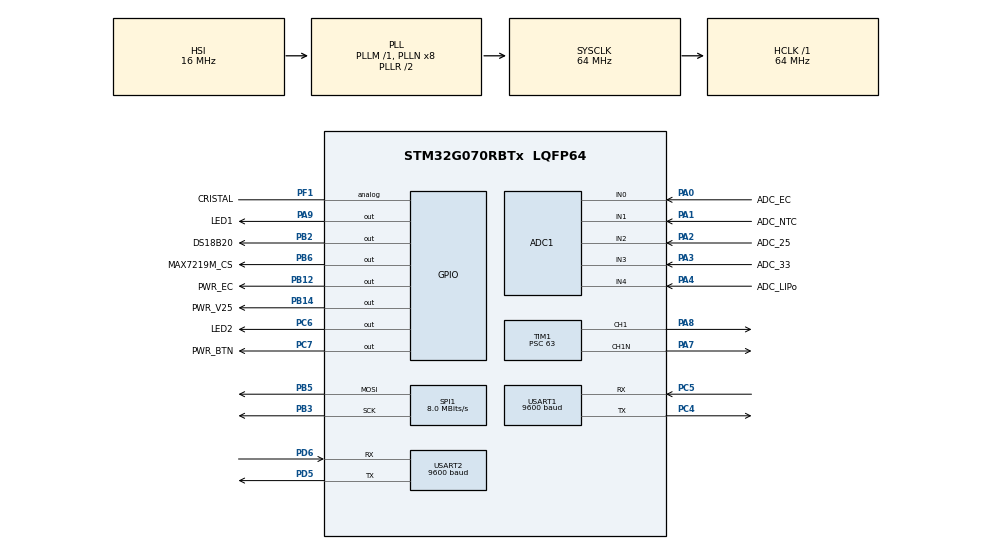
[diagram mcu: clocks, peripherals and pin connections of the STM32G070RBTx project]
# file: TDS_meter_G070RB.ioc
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ADC1.Channel-21\#ChannelRegularConversion=ADC_CHANNEL_1
ADC1.Channel-22\#ChannelRegularConversion=ADC_CHANNEL_2
ADC1.Channel-23\#ChannelRegularConversion=ADC_CHANNEL_3
ADC1.Channel-24\#ChannelRegularConversion=ADC_CHANNEL_4
ADC1.Channel-8\#ChannelRegularConversion=ADC_CHANNEL_0
ADC1.ClockPrescaler=ADC_CLOCK_SYNC_PCLK_DIV4
ADC1.ContinuousConvMode=DISABLE
ADC1.DMAContinuousRequests=ENABLE
ADC1.EOCSelection=ADC_EOC_SEQ_CONV
ADC1.ExternalTrigConv=ADC_EXTERNALTRIG_T1_TRGO2
ADC1.ExternalTrigConvEdge=ADC_EXTERNALTRIGCONVEDGE_RISING
ADC1.NbrOfConversion=5
ADC1.NbrOfConversionFlag=1
ADC1.Overrun=ADC_OVR_DATA_OVERWRITTEN
ADC1.Rank-21\#ChannelRegularConversion=2
ADC1.Rank-22\#ChannelRegularConversion=3
ADC1.Rank-23\#ChannelRegularConversion=4
ADC1.Rank-24\#ChannelRegularConversion=5
ADC1.Rank-8\#ChannelRegularConversion=1
ADC1.SamplingTime-21\#ChannelRegularConversion=ADC_SAMPLINGTIME_COMMON_1
ADC1.SamplingTime-22\#ChannelRegularConversion=ADC_SAMPLINGTIME_COMMON_1
ADC1.SamplingTime-23\#ChannelRegularConversion=ADC_SAMPLINGTIME_COMMON_1
ADC1.SamplingTime-24\#ChannelRegularConversion=ADC_SAMPLINGTIME_COMMON_1
ADC1.SamplingTime-8\#ChannelRegularConversion=ADC_SAMPLINGTIME_COMMON_1
ADC1.SamplingTimeCommon1=ADC_SAMPLETIME_12CYCLES_5
ADC1.SamplingTimeCommon2=ADC_SAMPLETIME_39CYCLES_5
ADC1.ScanConvMode=ADC_SCAN_ENABLE
ADC1.SelectedChannel=ADC_CHANNEL_0|ADC_CHANNEL_1|ADC_CHANNEL_2|ADC_CHANNEL_3|ADC_CHANNEL_4
ADC1.Sequencer=FULLY_CONFIGURABLE
ADC1.TriggerFrequencyMode=ADC_TRIGGER_FREQ_LOW
ADC1.master=1
Dma.ADC1.0.Direction=DMA_PERIPH_TO_MEMORY
Dma.ADC1.0.EventEnable=DISABLE
Dma.ADC1.0.Instance=DMA1_Channel1
Dma.ADC1.0.MemDataAlignment=DMA_MDATAALIGN_HALFWORD
Dma.ADC1.0.MemInc=DMA_MINC_ENABLE
Dma.ADC1.0.Mode=DMA_CIRCULAR
Dma.ADC1.0.PeriphDataAlignment=DMA_PDATAALIGN_HALFWORD
Dma.ADC1.0.PeriphInc=DMA_PINC_DISABLE
Dma.ADC1.0.Polarity=HAL_DMAMUX_REQ_GEN_RISING
Dma.ADC1.0.Priority=DMA_PRIORITY_LOW
Dma.ADC1.0.RequestNumber=1
Dma.ADC1.0.SignalID=NONE
Dma.ADC1.0.SyncEnable=DISABLE
Dma.ADC1.0.SyncPolarity=HAL_DMAMUX_SYNC_NO_EVENT
Dma.ADC1.0.SyncRequestNumber=1
Dma.ADC1.0.SyncSignalID=NONE
Dma.Request0=ADC1
Mcu.Family=STM32G0
Mcu.Name=STM32G070RBTx
Mcu.Package=LQFP64
NVIC.ADC1_IRQn=true\:0\:0\:false\:false\:true\:true\:true\:true
NVIC.DMA1_Channel1_IRQn=true\:0\:0\:false\:false\:true\:false\:true\:true
NVIC.TIM17_IRQn=true\:0\:0\:false\:false\:true\:true\:true\:true
NVIC.TIM6_IRQn=true\:0\:0\:false\:false\:true\:true\:true\:true
NVIC.USART1_IRQn=true\:0\:0\:false\:false\:true\:true\:true\:true
PA0.GPIO_Label=ADC_EC
PA0.Mode=IN0
PA0.Signal=ADC1_IN0
PA1.GPIO_Label=ADC_NTC
PA1.Mode=IN1
PA1.Signal=ADC1_IN1
PA13.Mode=Serial_Wire
PA13.Signal=SYS_SWDIO
PA14-BOOT0.Mode=Serial_Wire
PA14-BOOT0.Signal=SYS_SWCLK
PA2.GPIO_Label=ADC_25
PA2.Mode=IN2
PA2.Signal=ADC1_IN2
PA3.GPIO_Label=ADC_33
PA3.Mode=IN3
PA3.Signal=ADC1_IN3
PA4.GPIO_Label=ADC_LIPo
PA4.Mode=IN4
PA4.Signal=ADC1_IN4
PA7.Mode=Output Compare1 CH1 CH1N
PA7.Signal=TIM1_CH1N
PA8.Signal=S_TIM1_CH1
PA9.GPIO_Label=LED1
PA9.PinState=GPIO_PIN_SET
PA9.Signal=GPIO_Output
PB12.GPIO_Label=PWR_EC
PB12.Signal=GPIO_Output
PB14.GPIO_Label=PWR_V25
PB14.Signal=GPIO_Output
PB2.GPIO_Label=DS18B20
PB2.GPIO_ModeDefaultOutputPP=GPIO_MODE_OUTPUT_OD
PB2.GPIO_Speed=GPIO_SPEED_FREQ_VERY_HIGH
PB2.Signal=GPIO_Output
PB3.Mode=TX_Only_Simplex_Unidirect_Master
PB3.Signal=SPI1_SCK
PB5.Mode=TX_Only_Simplex_Unidirect_Master
PB5.Signal=SPI1_MOSI
PB6.GPIO_Label=MAX7219M_CS
PB6.Signal=GPIO_Output
PC14-OSC32_IN\ (PC14).Signal=RCC_OSC32_IN
PC15-OSC32_OUT\ (PC15).Signal=RCC_OSC32_OUT
PC4.Mode=Asynchronous
PC4.Signal=USART1_TX
PC5.GPIO_PuPd=GPIO_PULLUP
PC5.Mode=Asynchronous
PC5.Signal=USART1_RX
PC6.GPIO_Label=LED2
PC6.PinState=GPIO_PIN_SET
PC6.Signal=GPIO_Output
PC7.GPIO_Label=PWR_BTN
PC7.Signal=GPIO_Output
PD5.Mode=Asynchronous
PD5.Signal=USART2_TX
PD6.GPIO_PuPd=GPIO_PULLUP
PD6.Mode=Asynchronous
PD6.Signal=USART2_RX
PF0-OSC_IN\ (PF0).GPIO_Label=CRISTAL
PF0-OSC_IN\ (PF0).Signal=RCC_OSC_IN
PF1-OSC_OUT\ (PF1).GPIO_Label=CRISTAL
PF1-OSC_OUT\ (PF1).Signal=GPIO_Analog
ProjectManager.HeapSize=0x200
ProjectManager.StackSize=0x400
ProjectManager.TargetToolchain=STM32CubeIDE
RCC.ADCFreq_Value=64000000
RCC.AHBFreq_Value=64000000
RCC.CortexFreq_Value=64000000
RCC.EXTERNAL_CLOCK_VALUE=12288000
RCC.HCLKFreq_Value=64000000
RCC.HSE_VALUE=8000000
RCC.HSI_VALUE=16000000
RCC.LSE_VALUE=32768
RCC.SYSCLKFreq_VALUE=64000000
RCC.SYSCLKSource=RCC_SYSCLKSOURCE_PLLCLK
RCC.VCOOutputFreq_Value=128000000
SH.S_TIM1_CH1.0=TIM1_CH1,Output Compare1 CH1 CH1N
SPI1.BaudRatePrescaler=SPI_BAUDRATEPRESCALER_8
SPI1.CalculateBaudRate=8.0 MBits/s
SPI1.DataSize=SPI_DATASIZE_8BIT
SPI1.Direction=SPI_DIRECTION_2LINES
SPI1.Mode=SPI_MODE_MASTER
SPI1.VirtualType=VM_MASTER
TIM1.Channel-Output\ Compare1\ CH1\ CH1N=TIM_CHANNEL_1
TIM1.Channel-Output\ Compare4\ No\ Output=TIM_CHANNEL_4
TIM1.OCMode_1=TIM_OCMODE_TOGGLE
TIM1.OCMode_4=TIM_OCMODE_TOGGLE
TIM1.Period=100
TIM1.Prescaler=63
TIM1.Pulse-Output\ Compare1\ CH1\ CH1N=100
TIM1.Pulse-Output\ Compare4\ No\ Output=1
TIM1.TIM_MasterOutputTrigger=TIM_TRGO_RESET
TIM1.TIM_MasterOutputTrigger2=TIM_TRGO2_UPDATE
TIM1.TIM_MasterSlaveMode=TIM_MASTERSLAVEMODE_DISABLE
TIM17.Prescaler=63
TIM6.Period=7600
TIM6.Prescaler=6399
TIM7.Prescaler=63
USART1.BaudRate=9600
USART1.VirtualMode-Asynchronous=VM_ASYNC
USART2.BaudRate=9600
USART2.VirtualMode-Asynchronous=VM_ASYNC
VP_SYS_VS_DBSignals.Mode=DisableDeadBatterySignals
VP_TIM17_VS_ClockSourceINT.Mode=Enable_Timer
VP_TIM1_VS_no_output4.Mode=Output Compare4 No Output
VP_TIM6_VS_ClockSourceINT.Mode=Enable_Timer
VP_TIM6_VS_OPM.Mode=OPM_bit
VP_TIM7_VS_ClockSourceINT.Mode=Enable_Timer
board=NUCLEO-G070RB

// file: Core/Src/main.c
/* USER CODE BEGIN Header */
/**
 ******************************************************************************
 * @file           : main.c
 * @brief          : Main program body
 ******************************************************************************
 * @attention
 *
 * <h2><center>&copy; Copyright (c) 2022 STMicroelectronics.
 * All rights reserved.</center></h2>
 *
 * This software component is licensed by ST under BSD 3-Clause license,
 * the "License"; You may not use this file except in compliance with the
 * License. You may obtain a copy of the License at:
 *                        opensource.org/licenses/BSD-3-Clause
 *
 ******************************************************************************
 */
/* USER CODE END Header */
#include "main.h"
#include "adc.h"
#include "dma.h"
#include "spi.h"
#include "tim.h"
#include "usart.h"
#include "gpio.h"

/* USER CODE BEGIN Includes */
#include "string.h"
#include "stdio.h"
#include "delay_micros_tim.h"
#include "flash_wrt.h"
#include "ds18b20.h"
#include "max7219.h"
#include "math.h"
#include "app.h"
#include "app_config.h"

/* USER CODE END Includes */

/* USER CODE BEGIN PD */
// размер буфера ацп для adc_33_volt, adc_2_volt, adc_ntc, adc_vrefint
// (должно быть чётное число).
#define COUNT_REQUEST     5
// количество каналов. Если тут не чётное число,
// то COUNT_REQUEST должен делится на него без остатка).
#define CH_ADC            5
#define DIV_ADC           10
// количество опросов EC (должно быть чётное число).
#define EC_COUNT_ADC      16
//#define BUF_UART          256 (перенес)
/* USER CODE END PD */

/* USER CODE BEGIN PM */
// sb16 sb18 uart2 - del, sb17 mco - set, sb22 led - del
/* USER CODE END PM */

/* USER CODE BEGIN PV */

////////////// DS18B20 ///////////////
volatile uint8_t flag_ds18b20 = 1;

/////// Переменные АЦП1.
volatile uint8_t adc_flag_full = 0;
volatile uint8_t adc_flag_half = 0;
volatile uint8_t adc_count_full = 0;

//uint16_t adc_buf[COUNT_REQUEST] = {0,};
//uint32_t tmp_adc[CH_ADC] = {0,};
//uint16_t adc[CH_ADC] = {0,};

//////////////////////////////////////////////////
//uint32_t interval_uart = 500;

uint32_t interval_ds18 = 800; // миллисекунды, min 800                         [A800]
uint32_t interval_ec = 500; // миллисекунды, min 500                           [B

uint32_t referenceVoltage = 2500; // 2500mv (напряжение питания датчиков)      [C

uint32_t ntcR1 = 9600; // 10kΩ voltage divider resistor value                  [D
uint32_t ntcRo = 10000; // 10kΩ R of Thermistor at 25 degree                   [E
uint32_t ntcTo = 25; // 25 Temperature in Kelvin for 25 degree                 [F
uint32_t ntcKoefB = 3950; // 3950 Beta value                                   [G

int32_t ecRo = 1000; //  Ω Voltage divider resistor value 500Ω / 1000Ω         [K
int32_t ecKoefA = 54790; //  Alfa value                                        [L
int32_t ecKoefB = 90; //  Beta value                                           [M
int32_t ecKoefC = 34; //  С-value                                              [N
int32_t ecKoefT = 1; //  Ноль Koef Temperature                                 [P

uint32_t ec_Hz = 99; //  Частота ШиМа (в микросек, min 9, max 65535))          [Q
uint32_t skip_settings = 1;

typedef struct {
	double ec1;
	double ec2;
	double ec3;
	double adc_ec_raw1;
	double adc_ec_raw2;
	double adc_ec_raw3;
} calc_struct;

calc_struct my_struct = { 0, };

volatile uint32_t tim = 0;
volatile uint32_t tim17_count = 0;

volatile uint8_t flag_tim = 0;

uint16_t adc_buf[COUNT_REQUEST] = { 0, };

/* USER CODE END PV */

void SystemClock_Config(void);

/* USER CODE BEGIN 0 */
void trans_to_usart(char *buf, uint8_t len) {
	for (uint8_t i = 0; i < len; i++) {
		while ((USART1->ISR & USART_ISR_TC) == 0) {
		}
		USART1->TDR = buf[i];
	}

	//while((USART2->ISR & USART_ISR_TC) == 0){}
	//USART2->TDR = '\r';

	while ((USART1->ISR & USART_ISR_TC) == 0) {
	}
	USART1->TDR = '\n';
}

/////////// Таймер измерения времени для скорости & rpm ///////////
void HAL_TIM_PeriodElapsedCallback(TIM_HandleTypeDef *htim) {
	// ds18b20 tim17_count.
	if (htim == &htim6) {
		flag_ds18b20 = 2;
	}
	// ds18b20.
	if (htim->Instance == TIM17) {
		tim17_count++;
		//trans_to_usart("R", 1);
	}
}

void HAL_ADC_ConvCpltCallback(ADC_HandleTypeDef *hadc) {
	//if(hadc->Instance == ADC1)
	//{
	adc_flag_full = 1;

	/*flag_tim++;

	 if(flag_tim == 1)
	 {
	 TIM17->CNT = 0;
	 }
	 else if(flag_tim == 2)
	 {
	 tim = TIM17->CNT;
	 flag_tim = 0;
	 }*/

	//uint16_t len = sprintf(trans_str, "F %d %d %d %d %d  %lu", adc_buf[0], adc_buf[1], adc_buf[2], adc_buf[3], adc_buf[4], tim);
	//trans_to_usart(trans_str, len);
	//HAL_ADC_Stop(&hadc1);
	//trans_to_usart("F", 1);
	//}
}

void HAL_ADC_ConvHalfCpltCallback(ADC_HandleTypeDef *hadc) {
	//if(hadc->Instance == ADC1)
	//{
	adc_flag_half = 1;

	//uint16_t len = sprintf(trans_str, "H %d %d %d %d %d  %lu", adc_buf[0], adc_buf[1], adc_buf[2], adc_buf[3], adc_buf[4], tim);
	//trans_to_usart(trans_str, len);

	//HAL_ADC_Stop(&hadc1);
	//trans_to_usart("H", 1);
	//}
}

/* USER CODE END 0 */

int main(void)
{

  /* MCU Configuration--------------------------------------------------------*/

  /* Reset of all peripherals, Initializes the Flash interface and the Systick. */
  HAL_Init();

  /* Configure the system clock */
  SystemClock_Config();

  /* Initialize all configured peripherals */
  MX_GPIO_Init();
  MX_DMA_Init();
  MX_ADC1_Init();
  MX_USART1_UART_Init();
  MX_TIM7_Init();
  MX_TIM1_Init();
  MX_TIM6_Init();
  MX_TIM17_Init();
  MX_USART2_UART_Init();
  MX_SPI1_Init();
  /* USER CODE BEGIN 2 */
	/*PWR-V25 - включает питание опорного напряжения 2.5V. Включается низким напряжением в начале работы

	 PWR-EC - включает питание драйвера шагового двигателя который щёлкает ногами EC (перед этим нужно включить питание PWR-V25).
	 Оно включается высоким уровнем в начале работы.

	 PWR-LED - включает питание на 7-сегментные индикаторы c линии батарейки.
	 Одна из возможных проблем. Без этой штуки питание 7-сегментного идёт через диод с линии 5 вольт

	 PWR-ESP - включает питание на esp32 от батарейки, вторая возможная проблема. ecp32 также будет запитана с линии 5V*/

	HAL_Delay(500);

	///////////////////// READ FLASH ////////////////////////
	readConfig();
	/////////////////////// DWT ///////////////////////////// 0x0801F800
	Delay_us_tim_init();

	///////////////////// DS18B20 ///////////////////////////
	setResolution(DS18B20_Resolution_12_bit);

	///////////////////// PWR_V25_ON ///////////////////////////
	PWR_V25_ON;

	////////////////////// PWR_EC_ON ///////////////////////////
	PWR_EC_ON;

	///////////////////// ADC1 /////////////////////////////
	HAL_ADCEx_Calibration_Start(&hadc1); // калибровка АЦП1
	HAL_ADC_Start_DMA(&hadc1, (uint32_t*) adc_buf, COUNT_REQUEST);

	/////// переменные АЦП1 ///////
	uint16_t filter[CH_ADC] = { 0, };
	//uint16_t adc[CH_ADC] = {0,};

	uint16_t adc_ec = 0;
	uint16_t adc_ntc = 0;
	uint16_t adc_25 = 0;
	uint16_t adc_33 = 0;
	uint16_t adc_lipo = 0;

	uint16_t adc_ec_tmp = 0;
	uint16_t adc_ntc_tmp = 0;
	uint16_t adc_25_tmp = 0;
	uint16_t adc_33_tmp = 0;
	uint16_t adc_lipo_tmp = 0;

	uint32_t adc_ch_1 = 0;
	uint32_t adc_ch_2 = 0;
	uint32_t adc_ch_3 = 0;
	uint32_t adc_ch_4 = 0;
	uint32_t adc_ch_5 = 0;

	uint16_t *ptr_adc_buf = NULL;

	uint32_t tmp_adc_ec_positive = 0; // собирает пачку позитивных значений ЕС (по умолчанию 10 - #define EC_COUNT_ADC)
	uint16_t adc_ec_positive = 0; // среднее позитив = (tmp_adc_ec_positive / EC_COUNT_ADC)

	uint32_t tmp_adc_ec_negative = 0; // собирает пачку негативных значений ЕС (по умолчанию 10 - #define EC_COUNT_ADC)
	uint16_t adc_ec_negative = 0; // среднее негатив = (tmp_adc_ec_negative / EC_COUNT_ADC)

	///////////////// Готовые температуры ////////////////////
	int32_t temp_ntc = 0;
	int16_t temp_ds18 = 0;

	//MY_ADC1_Init(1);
	TIM1->PSC = 63;
	TIM1->ARR = ec_Hz;
	TIM1->CCR1 = TIM1->ARR;
	TIM1->CCR4 = TIM1->ARR;
	TIM1->EGR = TIM_EGR_UG;
	TIM1->SR = ~TIM_SR_UIF;

	HAL_TIM_OC_Start(&htim1, TIM_CHANNEL_1);
	HAL_TIMEx_OCN_Start(&htim1, TIM_CHANNEL_1);

	//HAL_ADC_Start(&hadc1);
	//HAL_ADC_PollForConversion(&hadc1, 2000);
	//trans_to_usart("2", 1);
	//trans_to_usart("3", 1);
	//while(!(ADC1->ISR & ADC_ISR_EOC));
	//trans_to_usart("4", 1);
	//uint16_t len = sprintf(trans_str, "A1 %lu", ADC1->DR);
	//trans_to_usart(trans_str, len);
	//trans_to_usart("5", 1);
	//while(1){}

	///////////////////////// tick ///////////////////////////
	uint32_t tim_ds18 = 0;
	uint32_t tim_ec = 0;

	//////////////// Вкл прерывания UART /////////////////////
	//__HAL_UART_ENABLE_IT(&huart1, UART_IT_RXNE);

	//////////////////////////////////////////////////////////
	my_struct.ec1 = 22.56;

	HAL_TIM_Base_Start_IT(&htim17);

	max7219_setup();

	// 2507 = 3300/4095*3111
  /* USER CODE END 2 */

  /* Infinite loop */
  /* USER CODE BEGIN WHILE */
	while (1) {
		adc_ntc = adc_buf[1];
		temp_ntc = rawNtcToTemperature(adc_ntc);
		uint16_t len = sprintf(trans_str, "%d  %d  %d  %d  %d  %d %l", adc_buf[0],
				adc_buf[1], adc_buf[2], adc_buf[3], adc_buf[4], temp_ds18, temp_ntc);
		trans_to_usart(trans_str, len);

		//////////////////////////// ADC FULL ///////////////////////////////
		if (adc_flag_full == 1) {
			adc_flag_full = 0;

			adc_count_full++;

			adc_ch_1 += adc_buf[0];
			adc_ch_2 += adc_buf[1];
			adc_ch_3 += adc_buf[2];
			adc_ch_4 += adc_buf[3];
			adc_ch_5 += adc_buf[4];

			if (adc_count_full == 10) {

				TIM17->CNT = 0;
				//tim17_count = 0;

				adc_ec_tmp = adc_ch_1 / DIV_ADC;
				adc_ntc_tmp = adc_ch_2 / DIV_ADC;
				adc_25 = adc_ch_3 / DIV_ADC;
				adc_33 = adc_ch_4 / DIV_ADC;
				adc_lipo = adc_ch_5 / DIV_ADC;

				/*for(uint8_t i = 0; i < CH_ADC; i++)
				 {
				 filter[i] = filter[i] - ((filter[i]) >> 4) + adc_buf[i];
				 adc[i] = (filter[i]) >> 4;
				 }*/

				//filter[0] = filter[0] - ((filter[0]) >> 4) + adc_ntc_tmp;
				//adc_ntc = (filter[0]) >> 4;
				adc_ch_1 = 0;
				adc_ch_2 = 0;
				adc_ch_3 = 0;
				adc_ch_4 = 0;
				adc_ch_5 = 0;

				//tim = (TIM17->CNT + (tim17_count * 65535));
				tim = TIM17->CNT;

				adc_count_full = 0;

				//uint16_t len = sprintf(trans_str, "%d  %d  %d  %d  %d    %lu  t: %d", adc_buf[1], adc_ntc, adc_ntc_tmp, adc[3], adc[4], tim, temp_ds18);
				//trans_to_usart(trans_str, len);
			}

		}
		max7219_loop();

		LED2_ON;
		LED1_OFF;
		HAL_Delay(50);
		LED2_OFF;
		LED1_ON;
		HAL_Delay(50);

		//max7219_init(8);

		//////////////////////////// ADC HALF ///////////////////////////////
		/*if(adc_flag_half == 1)
		 {
		 adc_flag_half = 0;

		 adc_ch_1 = 0;
		 adc_ch_2 = 0;

		 ptr_adc_buf = &adc_buf[0];

		 for(uint16_t i = 0; i < COUNT_REQUEST / (2 * 2); i++)
		 {
		 adc_ch_1 += ptr_adc_buf[2 * i + 0];
		 adc_ch_2 += ptr_adc_buf[2 * i + 1];
		 }

		 pred_ch1_h += adc_ch_1 / (COUNT_REQUEST / (2 * 2));
		 pred_ch2_h += adc_ch_2 / (COUNT_REQUEST / (2 * 2));

		 }*/

		//////////////////////////////// DS18B20 ////////////////////////////////////
		if ((uwTick - tim_ds18) > interval_ds18) {
			if (flag_ds18b20 == 1) {
				flag_ds18b20 = 0;

				DS18B20_LOW;
				delay_us(DELAY_RESET);
				DS18B20_HIGH;
				delay_us(DELAY_RESET);

				writeByte(SKIP_ROM);
				writeByte(CONVERT_T);

				TIM6->DIER |= TIM_IT_UPDATE;
				TIM6->CR1 |= TIM_CR1_CEN;

				//adc_flag_full = 0;
				//adc_flag_half = 0;

				LED1_ON;
				LED2_OFF;

			} else if (flag_ds18b20 == 2) {
				// когда таймер отсчитает 750мс, он установит flag == 2.
				DS18B20_LOW;
				delay_us(DELAY_RESET);
				DS18B20_HIGH;
				delay_us(DELAY_RESET);

				writeByte(SKIP_ROM);
				writeByte(READ_SCRATCHPAD);

				temp_ds18 = 0;

				for (uint8_t i = 0; i < 16; i++)
					temp_ds18 += (int16_t) readBit() << i;

				temp_ds18 = (100 * temp_ds18 / 16);

				flag_ds18b20 = 1; // запускаем новое измерение.

				//adc_flag_full = 0;
				//adc_flag_half = 0;

				LED1_OFF;
				LED2_ON;
			}

			tim_ds18 = uwTick;
		}

		//////////////////////////// EC ///////////////////////////////
		if ((uwTick - tim_ec) > interval_ec) {
			/*HAL_ADC_Stop_DMA(&hadc1);
			 HAL_ADC_Stop(&hadc1);

			 tmp_adc_ec_positive = 0;
			 tmp_adc_ec_negative = 0;

			 MY_ADC1_Init(1);

			 HAL_ADC_Start(&hadc1);
			 HAL_ADC_PollForConversion(&hadc1, 100);

			 uint16_t len = sprintf(trans_str, "A1 %lu", ADC1->DR);
			 trans_to_usart(trans_str, len);

			 HAL_ADC_Start(&hadc1);
			 HAL_ADC_PollForConversion(&hadc1, 100);

			 len = sprintf(trans_str, "A2 %lu", ADC1->DR);
			 trans_to_usart(trans_str, len);

			 HAL_ADC_Start(&hadc1);
			 HAL_ADC_PollForConversion(&hadc1, 100);

			 len = sprintf(trans_str, "A3 %lu", ADC1->DR);
			 trans_to_usart(trans_str, len);

			 HAL_ADC_Stop(&hadc1);

			 HAL_Delay(200);*/

			// данные с АЦП2 (ЕС) читаются постоянно, преобразование запускается по триггеру от таймера №3.
			// блогодаря тому, что АЦП2 работает постоянно, нам не нужно тратить время на его запуск.
			/*ADC1->DR; // читаем регистр чтоб обнулить его

			 for(uint8_t i = 0; i < EC_COUNT_ADC; i++)
			 {
			 while(!(ADC1->ISR & ADC_ISR_EOC)); // ждём следуещего преобразования

			 if((GPIOA->IDR & GPIO_PIN_8)) // проверяем пин РА8 (в каком он состоянии - позитивном или негативном)
			 {
			 tmp_adc_ec_positive += ADC1->DR;
			 //trans_to_usart1("P");
			 }
			 else
			 {
			 tmp_adc_ec_negative += ADC1->DR;
			 //trans_to_usart1("N");
			 }
			 }*/

			adc_ec_positive = (tmp_adc_ec_positive / (EC_COUNT_ADC / 2));
			adc_ec_negative = (tmp_adc_ec_negative / (EC_COUNT_ADC / 2));

			//uint16_t vdd = 1210 * 4095 / adc_33; // напряжение питания на основе Vrefint (не точно)

			////////////////////////// Выводим все данные в УАРТ /////////////////////////////
			//uint16_t len = snprintf(trans_str, BUF_UART, "%d %d %d %d %ld %d %d %d %d\n", \
			//adc_33_volt, adc_2_volt, adc_ntc, adc_vrefint, temp_ntc, temp_ds18, adc_ec_positive, adc_ec_negative, vdd);

			//while((HAL_UART_GetState(&huart1) != HAL_UART_STATE_READY));
			//HAL_UART_Transmit_DMA(&huart1, (uint8_t*)trans_str, len);

			//if(adc_ec_positive < 2900 || adc_ec_positive > 3100) while(1){}
			//if(adc_ec_negative < 2900 || adc_ec_negative > 3100) while(1){}

			//////////////// tm1637 ///////////////
			/*if(vdd >= 1000)
			 {
			 data_to_disp[0] = (vdd / 1000 % 10);
			 data_to_disp[1] = (vdd / 100 % 10);
			 data_to_disp[2] = (vdd / 10 % 10);
			 data_to_disp[3] = vdd % 10;
			 }
			 else if(vdd >= 100)
			 {
			 data_to_disp[0] = 0x7f; // ничего не выводит на сегмент
			 data_to_disp[1] = (vdd / 100 % 10);
			 data_to_disp[2] = (vdd / 10 % 10);
			 data_to_disp[3] = vdd % 10;
			 }
			 else if(vdd >= 10)
			 {
			 data_to_disp[0] = 0x7f;
			 data_to_disp[1] = 0x7f;
			 data_to_disp[2] = (vdd / 10 % 10);
			 data_to_disp[3] = vdd % 10;
			 }
			 else if(vdd >= 0)
			 {
			 data_to_disp[0] = 0x7f;
			 data_to_disp[1] = 0x7f;
			 data_to_disp[2] = 0x7f;
			 data_to_disp[3] = vdd % 10;
			 }
			 //// Для отрицательных значений -1 -99 ////
			 else if(vdd <= -10 && vdd >= -99)
			 {
			 int8_t tmp = vdd;
			 tmp *= -1;

			 data_to_disp[0] = 0x7f;
			 data_to_disp[1] = 18; // выводит на сегмент знак "минус"
			 data_to_disp[2] = (tmp / 10 % 10);
			 data_to_disp[3] = tmp % 10;
			 }
			 else if(vdd <= -1 && vdd >= -9)
			 {
			 int8_t tmp = vdd;
			 tmp *= -1;

			 data_to_disp[0] = 0x7f;
			 data_to_disp[1] = 0x7f;
			 data_to_disp[2] = 18;
			 data_to_disp[3] = tmp % 10;
			 }

			 display_mass(data_to_disp);*/

			//snprintf(trans_str, BUF_UART, "Vref: %d Vdd: %d mV\n", adc_vrefint, vdd);
			//trans_to_usart1(trans_str);
			//MY_ADC1_Init(6);
			//HAL_ADC_Start_DMA(&hadc1, (uint32_t*)adc_buf, COUNT_REQUEST);
			tim_ec = uwTick;
		}

		/*if(count == 5)
		 {
		 count = 6;

		 MY_ADC1_Init(1);
		 }
		 if(count == 11)
		 {
		 count = 0;

		 MY_ADC1_Init(4);
		 }*/

		//////////////////// READ BUTTON //////////////////////
		//read_but(); // 2.3 mks
		//TIM14->CNT = 0;
		/////////////////////////// DEBUG /////////////////////////////
		//uint8_t len = sprintf(trans_str, "%lu  %d %d %d %d %d %d %d  F: %lu %lu  T: %d %d", tim, adc[0], adc[1], adc[2], adc[3], adc[4], adc[5], adc[6], freq, (freq * 8), t0, t1);
		//uint8_t len = sprintf(trans_str, "%lu %lu %lu %d", TIM3->ARR, TIM3->CNT, TIM1->CNT, adc_buf[0]);
		//trans_to_usart(trans_str, len);
		//HAL_Delay(500);
		/*if(adc_flag_full == 1) // ждём флаг, который установится в прерывании АЦП1 по окончанию работы ДМА
		 {
		 adc_flag_full = 0; // обнуляем флаг

		 //TIM17->CNT = 0;
		 // обнуляем временные переменные
		 tmp_adc_ec = 0;
		 tmp_adc_ntc = 0;
		 tmp_adc_25 = 0;
		 tmp_adc_33 = 0;
		 tmp_adc_lipo = 0;
		 tmp_adc_in5 = 0;

		 ptr_adc_buf = &adc_buf[0];

		 // разбираем данные с АЦП1 полученые через ДМА
		 for(uint16_t i = 0; i < (COUNT_REQUEST / CH_ADC); i++)
		 {
		 tmp_adc_ec += ptr_adc_buf[CH_ADC * i + 0];
		 tmp_adc_ntc += ptr_adc_buf[CH_ADC * i + 1];
		 tmp_adc_25 += ptr_adc_buf[CH_ADC * i + 2];
		 tmp_adc_33 += ptr_adc_buf[CH_ADC * i + 3];
		 tmp_adc_lipo += ptr_adc_buf[CH_ADC * i + 4];
		 tmp_adc_in5 += ptr_adc_buf[CH_ADC * i + 5];
		 }

		 // усредняем
		 adc_ec = (tmp_adc_ec / DIV_ADC);
		 adc_ntc = (tmp_adc_ntc / DIV_ADC);
		 adc_25 = (tmp_adc_25 / DIV_ADC);
		 adc_33 = (tmp_adc_33 / DIV_ADC);
		 adc_lipo = (tmp_adc_lipo / DIV_ADC);
		 adc_in5 = (tmp_adc_in5 / DIV_ADC);

		 temp_ntc = rawNtcToTemperature(adc_ntc); // получаем температуру с NTC

		 //tim = TIM17->CNT;

		 uint16_t len = sprintf(trans_str, "n %d %d %d %d %d %d  %lu", adc_ec, adc_ntc, adc_25, adc_33, adc_lipo, adc_in5, tim);
		 trans_to_usart(trans_str, len);

		 HAL_Delay(200);

		 HAL_ADC_Start_DMA(&hadc1, (uint32_t*)adc_buf, COUNT_REQUEST);
		 }*/

		//uint16_t len = sprintf(trans_str, "T %lu", tim);
		//trans_to_usart(trans_str, len);
		/*if(adc_flag_full == 1) // ждём флаг, который установится в прерывании АЦП1 по окончанию работы ДМА
		 {
		 // обнуляем временные переменные
		 tmp_adc_ec = 0;
		 tmp_adc_ntc = 0;
		 tmp_adc_25 = 0;
		 tmp_adc_33 = 0;
		 tmp_adc_lipo = 0;
		 tmp_adc_in5 = 0;

		 // разбираем данные с АЦП1 полученые через ДМА
		 for(uint16_t i = 0; i < (COUNT_REQUEST / CH_ADC); i++)
		 {
		 tmp_adc_ec += adc_buf[CH_ADC * i + 0];
		 tmp_adc_ntc += adc_buf[CH_ADC * i + 1];
		 tmp_adc_25 += adc_buf[CH_ADC * i + 2];
		 tmp_adc_33 += adc_buf[CH_ADC * i + 3];
		 tmp_adc_lipo += adc_buf[CH_ADC * i + 4];
		 tmp_adc_in5 += adc_buf[CH_ADC * i + 5];
		 }

		 // усредняем
		 adc_ec = (tmp_adc_ec / DIV_ADC);
		 adc_ntc = (tmp_adc_ntc / DIV_ADC);
		 adc_25 = (tmp_adc_25 / DIV_ADC);
		 adc_33 = (tmp_adc_33 / DIV_ADC);
		 adc_lipo = (tmp_adc_lipo / DIV_ADC);
		 adc_in5 = (tmp_adc_in5 / DIV_ADC);

		 temp_ntc = rawNtcToTemperature(adc_ntc); // получаем температуру с NTC

		 uint16_t len = sprintf(trans_str, "A %d %d %d %d %d %d", adc_ec, adc_ntc, adc_25, adc_33, adc_lipo, adc_in5);
		 trans_to_usart(trans_str, len);

		 adc_flag_full = 0;
		 }*/

///////////////
		/*if(adc_flag_full == 1)
		 {
		 adc_flag_full = 0;

		 adc_ch_1 = 0;
		 adc_ch_2 = 0;
		 adc_ch_3 = 0;
		 adc_ch_4 = 0;
		 adc_ch_5 = 0;

		 ptr_adc_buf = &adc_buf[COUNT_REQUEST / 2];

		 for(uint16_t i = 0; i < DIV_ADC; i++)
		 {
		 adc_ch_1 += ptr_adc_buf[CH_ADC * i + 0];
		 adc_ch_2 += ptr_adc_buf[CH_ADC * i + 1];
		 adc_ch_3 += ptr_adc_buf[CH_ADC * i + 2];
		 adc_ch_4 += ptr_adc_buf[CH_ADC * i + 3];
		 adc_ch_5 += ptr_adc_buf[CH_ADC * i + 4];
		 }

		 TIM17->CNT = 0;
		 tim17_count = 0;

		 adc_ec = adc_ch_1 / DIV_ADC;
		 adc_ntc = adc_ch_2 / DIV_ADC;
		 adc_25 = adc_ch_3 / DIV_ADC;
		 adc_33 = adc_ch_4 / DIV_ADC;
		 adc_lipo = adc_ch_5 / DIV_ADC;

		 tim = (TIM17->CNT + (tim17_count * 65535));

		 uint16_t len = sprintf(trans_str, "%d  %d  %d  %d  %d  %lu %lu ms t: %d",\
					adc_ec, adc_ntc, adc_25, adc_33, adc_lipo, tim, (tim / 1000), temp_ds18);
		 trans_to_usart(trans_str, len);

		 LED2_ON;
		 //HAL_Delay(50);
		 LED2_OFF;
		 adc_flag_full = 0;
		 }*/

    /* USER CODE END WHILE */

	}
}

void SystemClock_Config(void)
{
  RCC_OscInitTypeDef RCC_OscInitStruct = {0};
  RCC_ClkInitTypeDef RCC_ClkInitStruct = {0};

  /** Configure the main internal regulator output voltage
  */
  HAL_PWREx_ControlVoltageScaling(PWR_REGULATOR_VOLTAGE_SCALE1);

  /** Initializes the RCC Oscillators according to the specified parameters
  * in the RCC_OscInitTypeDef structure.
  */
  RCC_OscInitStruct.OscillatorType = RCC_OSCILLATORTYPE_HSI;
  RCC_OscInitStruct.HSIState = RCC_HSI_ON;
  RCC_OscInitStruct.HSIDiv = RCC_HSI_DIV1;
  RCC_OscInitStruct.HSICalibrationValue = RCC_HSICALIBRATION_DEFAULT;
  RCC_OscInitStruct.PLL.PLLState = RCC_PLL_ON;
  RCC_OscInitStruct.PLL.PLLSource = RCC_PLLSOURCE_HSI;
  RCC_OscInitStruct.PLL.PLLM = RCC_PLLM_DIV1;
  RCC_OscInitStruct.PLL.PLLN = 8;
  RCC_OscInitStruct.PLL.PLLP = RCC_PLLP_DIV2;
  RCC_OscInitStruct.PLL.PLLR = RCC_PLLR_DIV2;
  if (HAL_RCC_OscConfig(&RCC_OscInitStruct) != HAL_OK)
  {
    Error_Handler();
  }

  /** Initializes the CPU, AHB and APB buses clocks
  */
  RCC_ClkInitStruct.ClockType = RCC_CLOCKTYPE_HCLK|RCC_CLOCKTYPE_SYSCLK
                              |RCC_CLOCKTYPE_PCLK1;
  RCC_ClkInitStruct.SYSCLKSource = RCC_SYSCLKSOURCE_PLLCLK;
  RCC_ClkInitStruct.AHBCLKDivider = RCC_SYSCLK_DIV1;
  RCC_ClkInitStruct.APB1CLKDivider = RCC_HCLK_DIV1;

  if (HAL_RCC_ClockConfig(&RCC_ClkInitStruct, FLASH_LATENCY_2) != HAL_OK)
  {
    Error_Handler();
  }
}

/* USER CODE BEGIN 4 */
//HAL_UART_Transmit(&huart2, (uint8_t*)trans_str, len, 1000);
/*void MY_ADC1_Init(uint8_t numb)
 {

 //HAL_TIM_OC_Stop(&htim1, TIM_CHANNEL_1); // запускает Ш�?М, и посылает триггер для запуска тим3
 //HAL_TIMEx_OCN_Stop(&htim1, TIM_CHANNEL_1);

 //HAL_TIM_Base_Stop(&htim3);
 //HAL_ADC_Stop(&hadc1);

 //HAL_ADC_Stop_DMA(&hadc1);

 //HAL_ADC_MspDeInit(&hadc1);

 hadc1.Instance = ADC1;
 hadc1.Init.ClockPrescaler = ADC_CLOCK_SYNC_PCLK_DIV4;
 hadc1.Init.Resolution = ADC_RESOLUTION_12B;
 hadc1.Init.DataAlign = ADC_DATAALIGN_RIGHT;
 hadc1.Init.ScanConvMode = ADC_SCAN_ENABLE;
 hadc1.Init.EOCSelection = ADC_EOC_SINGLE_CONV; // ADC_EOC_SEQ_CONV;
 hadc1.Init.LowPowerAutoWait = DISABLE;
 hadc1.Init.LowPowerAutoPowerOff = DISABLE;
 hadc1.Init.ContinuousConvMode = ENABLE;
 hadc1.Init.NbrOfConversion = numb;
 hadc1.Init.DiscontinuousConvMode = DISABLE;
 hadc1.Init.ExternalTrigConv = ADC_SOFTWARE_START;
 hadc1.Init.ExternalTrigConvEdge = ADC_EXTERNALTRIGCONVEDGE_NONE;
 hadc1.Init.DMAContinuousRequests = ENABLE;
 hadc1.Init.Overrun = ADC_OVR_DATA_OVERWRITTEN;
 hadc1.Init.SamplingTimeCommon1 = ADC_SAMPLETIME_39CYCLES_5;
 hadc1.Init.SamplingTimeCommon2 = ADC_SAMPLETIME_39CYCLES_5;
 hadc1.Init.OversamplingMode = DISABLE;
 hadc1.Init.TriggerFrequencyMode = ADC_TRIGGER_FREQ_HIGH;

 HAL_ADC_Init(&hadc1);

 ADC_ChannelConfTypeDef sConfig = {0};

 if(numb == 6)
 {
 sConfig.Channel = ADC_CHANNEL_0;
 sConfig.Rank = ADC_REGULAR_RANK_1;
 sConfig.SamplingTime = ADC_SAMPLINGTIME_COMMON_1;
 HAL_ADC_ConfigChannel(&hadc1, &sConfig);

 sConfig.Channel = ADC_CHANNEL_1;
 sConfig.Rank = ADC_REGULAR_RANK_2;
 HAL_ADC_ConfigChannel(&hadc1, &sConfig);

 sConfig.Channel = ADC_CHANNEL_2;
 sConfig.Rank = ADC_REGULAR_RANK_3;
 HAL_ADC_ConfigChannel(&hadc1, &sConfig);

 sConfig.Channel = ADC_CHANNEL_3;
 sConfig.Rank = ADC_REGULAR_RANK_4;
 HAL_ADC_ConfigChannel(&hadc1, &sConfig);

 sConfig.Channel = ADC_CHANNEL_4;
 sConfig.Rank = ADC_REGULAR_RANK_5;
 HAL_ADC_ConfigChannel(&hadc1, &sConfig);

 sConfig.Channel = ADC_CHANNEL_4;
 sConfig.Rank = ADC_REGULAR_RANK_6;
 HAL_ADC_ConfigChannel(&hadc1, &sConfig);
 }
 else if(numb == 1)
 {
 sConfig.Channel = ADC_CHANNEL_0;
 sConfig.Rank = ADC_REGULAR_RANK_1;
 sConfig.SamplingTime = ADC_SAMPLINGTIME_COMMON_1;
 HAL_ADC_ConfigChannel(&hadc1, &sConfig);
 }

 //HAL_ADC_Start_DMA(&hadc1, (uint32_t*)adc_buf, COUNT_REQUEST);
 //HAL_TIM_Base_Start(&htim3);
 //HAL_TIM_OC_Start(&htim1, TIM_CHANNEL_1); // запускает Ш�?М, и посылает триггер для запуска тим3
 //HAL_TIMEx_OCN_Start(&htim1, TIM_CHANNEL_1);
 }*/

/* USER CODE END 4 */

void Error_Handler(void)
{
	__disable_irq();
	while (1) {
	}
}
